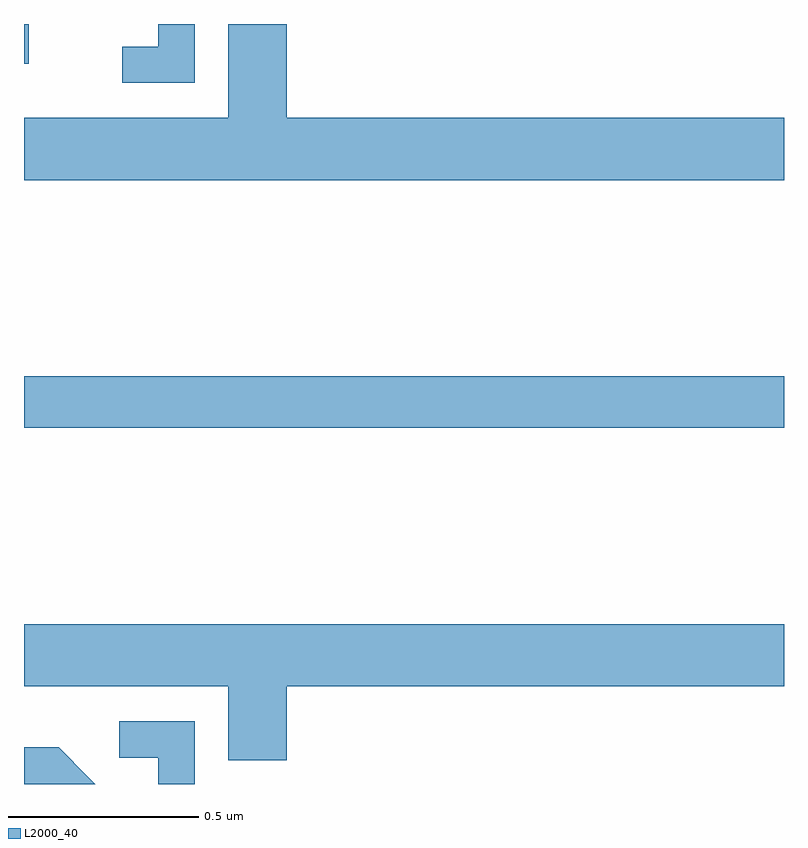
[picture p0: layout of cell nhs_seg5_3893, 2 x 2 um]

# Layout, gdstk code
import gdstk
lib = gdstk.Library(unit=1e-6, precision=1e-09)
def R(c, l, rs):  # rectangles x0, y0, x1, y1
    for r in rs: c.add(gdstk.rectangle(r[:2], r[2:], *l))
def P(c, l, *ps):  # polygons
    for p in ps: c.add(gdstk.Polygon(p, *l))
L2000_40 = (2000, 40)

nhs_seg5_3893 = lib.new_cell('nhs_seg5_3893')
R(nhs_seg5_3893, L2000_40, [(163,894.736,165,894.872), (163,895.694,163.012,895.799)])
P(nhs_seg5_3893, L2000_40, [(165,895.552),(163.691,895.552),(163.691,895.799),(163.538,895.799),(163.538,895.552),(163,895.552),(163,895.388),(165,895.388)],
  [(163.449,895.799),(163.353,895.799),(163.353,895.739),(163.258,895.739),(163.258,895.644),(163.449,895.644)],
  [(163.691,894.056),(165,894.056),(165,894.22),(163,894.22),(163,894.056),(163.538,894.056),(163.538,893.862),(163.691,893.862)],
  [(163.449,893.964),(163.251,893.964),(163.251,893.868),(163.353,893.868),(163.353,893.799),(163.449,893.799)],
  [(163.171,893.815),(163.091,893.896),(163,893.896),(163,893.799),(163.187,893.799)])

lib.write_gds('nhs_seg5_3893.gds')
